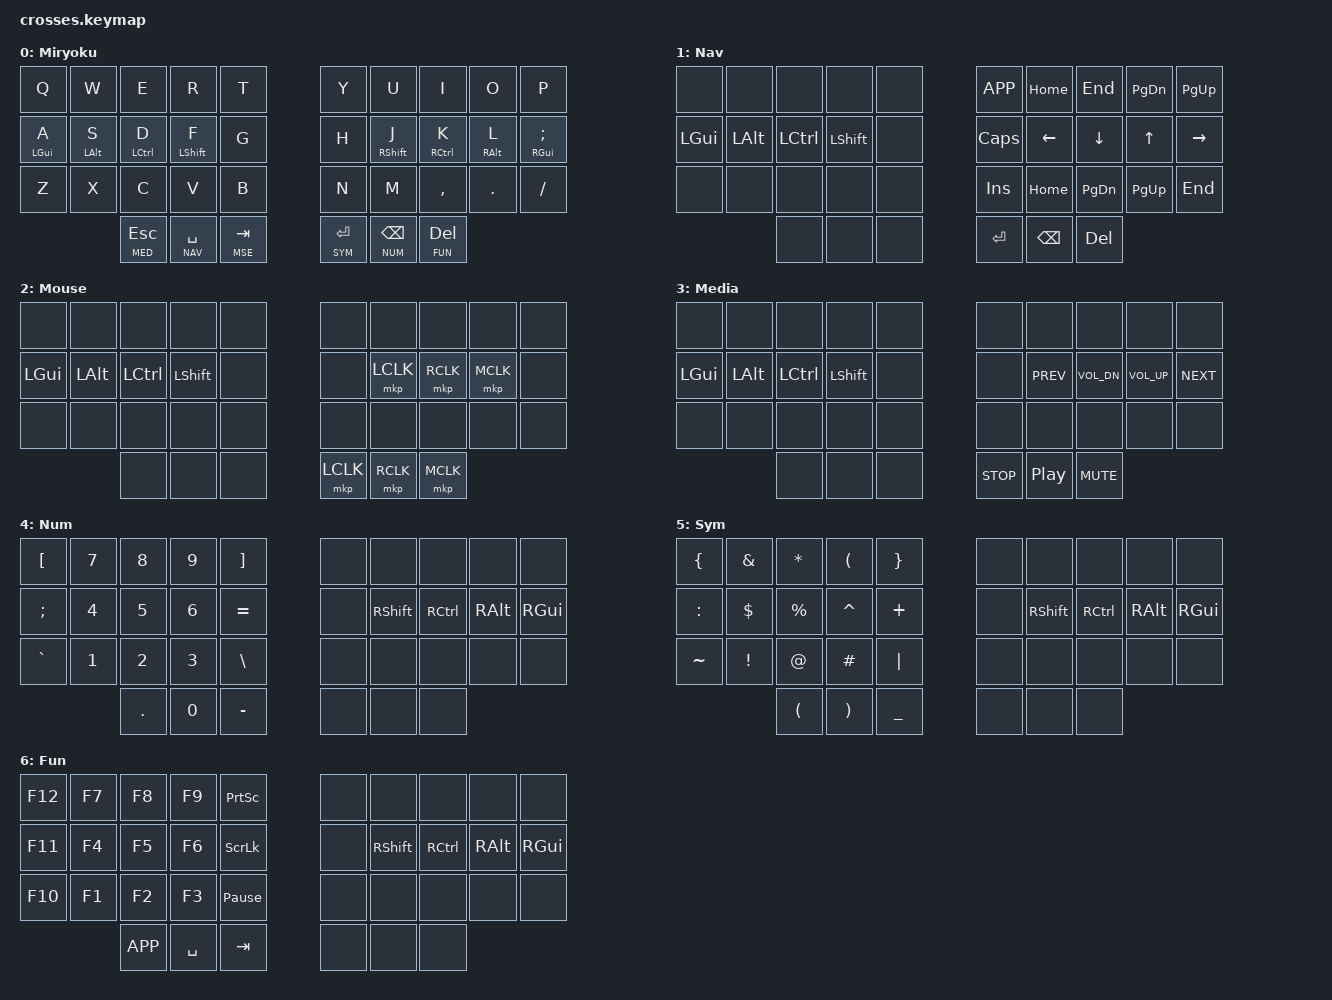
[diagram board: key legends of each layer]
#include <behaviors.dtsi>
#include <dt-bindings/zmk/keys.h>
#include <dt-bindings/zmk/bt.h>
#include <dt-bindings/zmk/outputs.h>
#include <dt-bindings/zmk/pointing.h>

#define BASE 0
#define NAV 1
#define MSE 2
#define MED 3
#define NUM 4
#define SYM 5
#define FUN 6

/ {
    /* 1. Hardware Selection */
    chosen {
        zmk,physical-layout = &gggw_crosses_36_layout;
    };

    /* 2. Custom Behaviors */
    behaviors {
        /* Home Row Mods: Hold for Shift/Ctrl/Alt/Gui, Tap for Letter */
        hm: homerow_mods {
            compatible = "zmk,behavior-hold-tap";
            #binding-cells = <2>;
            tapping-term-ms = <200>;
            quick-tap-ms = <200>;
            require-prior-idle-ms = <150>;
            flavor = "tap-preferred";
            bindings = <&kp>, <&kp>;
        };

        /* Thumb Layer Taps: Hold for Layer, Tap for Key */
        hlt: hold_layer_tap {
            compatible = "zmk,behavior-hold-tap";
            #binding-cells = <2>;
            tapping-term-ms = <200>;
            quick-tap-ms = <200>;
            require-prior-idle-ms = <150>;
            flavor = "tap-preferred";
            bindings = <&mo>, <&kp>;
        };
    };

    /* 3. Miryoku Keymap */
    keymap {
        compatible = "zmk,keymap";

        /* BASE LAYER (QWERTY) */
        default_layer {
            display-name = "Miryoku";
            bindings = <
&kp Q       &kp W       &kp E       &kp R       &kp T         &kp Y       &kp U       &kp I       &kp O       &kp P
&hm LGUI A  &hm LALT S  &hm LCTRL D &hm LSHFT F &kp G         &kp H       &hm RSHFT J &hm RCTRL K &hm RALT L  &hm RGUI SEMI
&kp Z       &kp X       &kp C       &kp V       &kp B         &kp N       &kp M       &kp COMMA   &kp DOT     &kp FSLH
                        &hlt MED ESC &hlt NAV SPC &hlt MSE TAB    &hlt SYM RET &hlt NUM BSPC &hlt FUN DEL
            >;
        };

        /* NAV LAYER */
        nav_layer {
            display-name = "Nav";
            bindings = <
&none     &none     &none      &none      &none       &kp K_APP &kp HOME &kp END   &kp PG_DN &kp PG_UP
&kp LGUI  &kp LALT  &kp LCTRL  &kp LSHFT  &none       &kp CAPS  &kp LEFT &kp DOWN  &kp UP    &kp RIGHT
&none     &none     &none      &none      &none       &kp INS   &kp HOME &kp PG_DN &kp PG_UP &kp END
                    &none      &none      &none       &kp RET   &kp BSPC &kp DEL
            >;
        };

        /* MOUSE LAYER */
        mouse_layer {
            display-name = "Mouse";
            bindings = <
&none     &none     &none      &none      &none       &none     &none     &none     &none     &none
&kp LGUI  &kp LALT  &kp LCTRL  &kp LSHFT  &none       &none     &mkp LCLK &mkp RCLK &mkp MCLK &none
&none     &none     &none      &none      &none       &none     &none     &none     &none     &none
                    &none      &none      &none       &mkp LCLK &mkp RCLK &mkp MCLK
            >;
        };

        /* MEDIA LAYER */
        media_layer {
            display-name = "Media";
            bindings = <
&none     &none     &none      &none      &none       &none     &none      &none        &none        &none
&kp LGUI  &kp LALT  &kp LCTRL  &kp LSHFT  &none       &none     &kp C_PREV &kp C_VOL_DN &kp C_VOL_UP &kp C_NEXT
&none     &none     &none      &none      &none       &none     &none      &none        &none        &none
                    &none      &none      &none       &kp C_STOP &kp C_PP  &kp C_MUTE
            >;
        };

        /* NUM LAYER */
        num_layer {
            display-name = "Num";
            bindings = <
&kp LBKT  &kp N7    &kp N8     &kp N9     &kp RBKT    &none     &none     &none     &none     &none
&kp SEMI  &kp N4    &kp N5     &kp N6     &kp EQUAL   &none     &kp RSHFT &kp RCTRL &kp RALT  &kp RGUI
&kp GRAVE &kp N1    &kp N2     &kp N3     &kp BSLH    &none     &none     &none     &none     &none
                    &kp DOT    &kp N0     &kp MINUS   &none     &none     &none
            >;
        };

        /* SYM LAYER */
        sym_layer {
            display-name = "Sym";
            bindings = <
&kp LBRC  &kp AMPS  &kp STAR   &kp LPAR   &kp RBRC    &none     &none     &none     &none     &none
&kp COLON &kp DLLR  &kp PRCNT  &kp CARET  &kp PLUS    &none     &kp RSHFT &kp RCTRL &kp RALT  &kp RGUI
&kp TILDE &kp EXCL  &kp AT     &kp HASH   &kp PIPE    &none     &none     &none     &none     &none
                    &kp LPAR   &kp RPAR   &kp UNDER   &none     &none     &none
            >;
        };

        /* FUN LAYER */
        fun_layer {
            display-name = "Fun";
            bindings = <
&kp F12   &kp F7    &kp F8     &kp F9     &kp PSCRN   &none     &none     &none     &none     &none
&kp F11   &kp F4    &kp F5     &kp F6     &kp SLCK    &none     &kp RSHFT &kp RCTRL &kp RALT  &kp RGUI
&kp F10   &kp F1    &kp F2     &kp F3     &kp PAUSE_BREAK &none &none     &none     &none     &none
                    &kp K_APP  &kp SPACE  &kp TAB     &none     &none     &none
            >;
        };
    };
};
